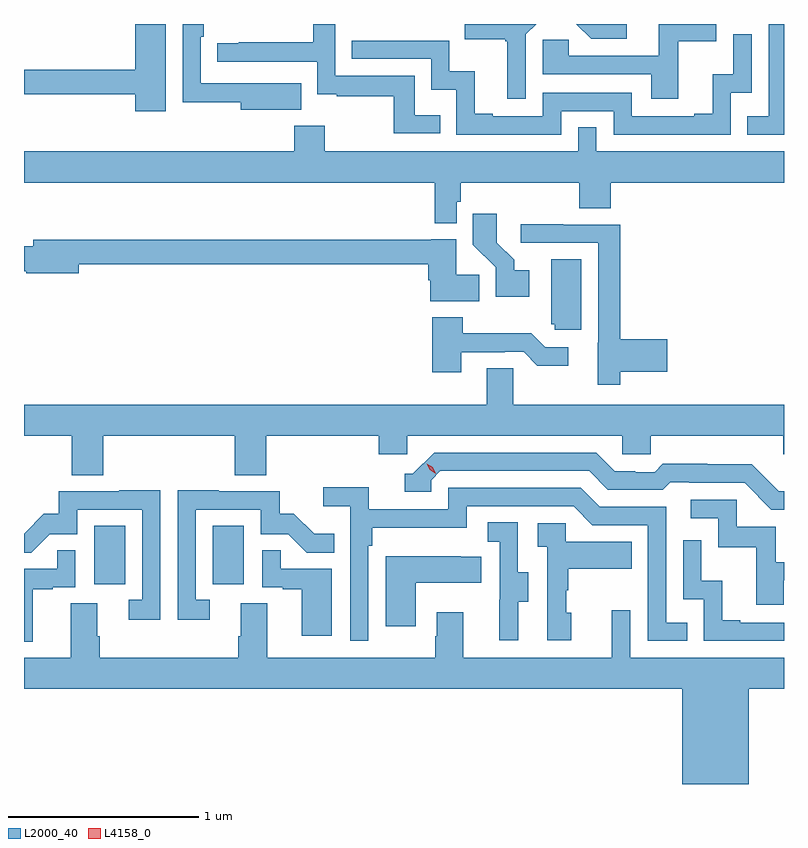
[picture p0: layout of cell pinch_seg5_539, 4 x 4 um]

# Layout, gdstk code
import gdstk
lib = gdstk.Library(unit=1e-6, precision=1e-09)
def R(c, l, rs):  # rectangles x0, y0, x1, y1
    for r in rs: c.add(gdstk.rectangle(r[:2], r[2:], *l))
def P(c, l, *ps):  # polygons
    for p in ps: c.add(gdstk.Polygon(p, *l))
L2000_40 = (2000, 40)
L4158_0 = (4158, 0)

pinch_seg5_539 = lib.new_cell('pinch_seg5_539')
R(pinch_seg5_539, L2000_40, [(952.352,843.99,952.516,844.297), (952.976,843.99,953.14,844.297)])
P(pinch_seg5_539, L2000_40, [(953.441,846.628),(953.227,846.628),(953.227,846.627),(952.914,846.627),(952.914,846.872),(952.928,846.872),(952.928,846.939),(952.818,846.939),(952.818,846.526),(953.123,846.526),(953.123,846.488),(953.441,846.488)],
  [(955.156,846.939),(954.89,846.939),(954.968,846.861),(955.156,846.861)],
  [(954.624,846.885),(954.678,846.939),(954.303,846.939),(954.303,846.86),(954.516,846.86),(954.516,846.849),(954.527,846.849),(954.527,846.546),(954.624,846.546)],
  [(952.729,846.939),(952.568,846.939),(952.568,846.698),(951.983,846.698),(951.983,846.57),(952.568,846.57),(952.568,846.48),(952.729,846.48)],
  [(954.173,846.46),(954.039,846.46),(954.039,846.666),(953.622,846.666),(953.622,846.939),(953.506,846.939),(953.506,846.842),(953.113,846.842),(953.113,846.837),(953.001,846.837),(953.001,846.741),(953.526,846.741),(953.526,846.569),(953.629,846.569),(953.629,846.558),(953.928,846.558),(953.928,846.363),(954.173,846.363)],
  [(955.427,846.849),(955.626,846.849),(955.626,846.939),(955.325,846.939),(955.325,846.771),(954.851,846.771),(954.851,846.855),(954.714,846.855),(954.714,846.675),(955.283,846.675),(955.283,846.546),(955.427,846.546)],
  [(955.983,846.939),(955.902,846.939),(955.902,846.453),(955.789,846.453),(955.789,846.357),(955.983,846.357)],
  [(954.81,846.48),(955.086,846.48),(955.086,846.357),(955.704,846.357),(955.704,846.576),(955.812,846.576),(955.812,846.886),(955.716,846.886),(955.716,846.674),(955.607,846.674),(955.607,846.466),(955.511,846.466),(955.511,846.453),(955.182,846.453),(955.182,846.576),(954.714,846.576),(954.714,846.453),(954.451,846.453),(954.451,846.466),(954.355,846.466),(954.355,846.691),(954.222,846.691),(954.222,846.852),(953.707,846.852),(953.707,846.756),(954.126,846.756),(954.126,846.593),(954.258,846.593),(954.258,846.357),(954.81,846.357)],
  [(954.261,846.003),(954.281,846.003),(954.281,846.104),(954.905,846.104),(954.905,845.968),(955.07,845.968),(955.07,846.104),(955.983,846.104),(955.983,846.268),(954.996,846.268),(954.996,846.395),(954.9,846.395),(954.9,846.268),(953.565,846.268),(953.565,846.403),(953.405,846.403),(953.405,846.268),(951.983,846.268),(951.983,846.104),(954.145,846.104),(954.145,845.891),(954.261,845.891)],
  [(954.643,845.644),(954.562,845.644),(954.562,845.699),(954.472,845.789),(954.472,845.941),(954.346,845.941),(954.346,845.778),(954.465,845.659),(954.465,845.504),(954.643,845.504)],
  [(955.121,845.108),(955.369,845.108),(955.369,845.279),(955.121,845.279),(955.121,845.883),(954.821,845.883),(954.821,845.886),(954.597,845.886),(954.597,845.787),(955.005,845.787),(955.005,845.262),(955.004,845.262),(955.004,845.04),(955.121,845.04)],
  [(954.38,845.618),(954.259,845.618),(954.259,845.806),(954.126,845.806),(954.126,845.803),(952.031,845.803),(952.031,845.769),(951.983,845.769),(951.983,845.639),(951.994,845.639),(951.994,845.627),(952.27,845.627),(952.27,845.674),(954.11,845.674),(954.11,845.591),(954.122,845.591),(954.122,845.48),(954.38,845.48)],
  [(954.916,845.702),(954.758,845.702),(954.758,845.358),(954.777,845.358),(954.777,845.331),(954.916,845.331)],
  [(954.283,845.211),(954.512,845.211),(954.512,845.214),(954.612,845.214),(954.685,845.141),(954.847,845.141),(954.847,845.238),(954.726,845.238),(954.653,845.311),(954.291,845.311),(954.291,845.395),(954.131,845.395),(954.131,845.106),(954.283,845.106)],
  [(952.4,844.772),(953.093,844.772),(953.093,844.564),(953.258,844.564),(953.258,844.772),(953.849,844.772),(953.849,844.674),(954,844.674),(954,844.772),(955.131,844.772),(955.131,844.674),(955.281,844.674),(955.281,844.772),(955.979,844.772),(955.979,844.674),(955.983,844.674),(955.983,844.936),(954.558,844.936),(954.558,845.126),(954.419,845.126),(954.419,844.936),(951.983,844.936),(951.983,844.772),(952.235,844.772),(952.235,844.564),(952.4,844.564)],
  [(955.983,844.479),(955.956,844.479),(955.814,844.621),(955.578,844.621),(955.578,844.624),(955.345,844.624),(955.303,844.581),(955.2,844.581),(955.2,844.584),(955.093,844.584),(954.994,844.683),(954.141,844.683),(954.03,844.572),(953.987,844.572),(953.987,844.476),(954.126,844.476),(954.126,844.539),(954.174,844.587),(954.957,844.587),(955.056,844.488),(955.345,844.488),(955.384,844.527),(955.483,844.527),(955.483,844.524),(955.776,844.524),(955.917,844.383),(955.983,844.383)],
  [(953.796,844.193),(953.816,844.193),(953.816,844.289),(954.312,844.289),(954.312,844.401),(954.876,844.401),(954.975,844.302),(955.266,844.302),(955.266,843.693),(955.475,843.693),(955.475,843.789),(955.362,843.789),(955.362,844.398),(955.012,844.398),(954.913,844.497),(954.216,844.497),(954.216,844.386),(953.798,844.386),(953.798,844.502),(953.559,844.502),(953.559,844.4),(953.7,844.4),(953.7,843.693),(953.796,843.693)],
  [(952.701,844.484),(952.483,844.484),(952.483,844.479),(952.165,844.479),(952.165,844.362),(952.088,844.362),(951.983,844.257),(951.983,844.156),(952.02,844.156),(952.118,844.254),(952.263,844.254),(952.263,844.383),(952.605,844.383),(952.605,843.909),(952.533,843.909),(952.533,843.804),(952.701,843.804)],
  [(952.96,843.909),(952.887,843.909),(952.887,844.383),(953.229,844.383),(953.229,844.254),(953.373,844.254),(953.471,844.156),(953.615,844.156),(953.615,844.255),(953.511,844.255),(953.404,844.362),(953.328,844.362),(953.328,844.479),(953.009,844.479),(953.009,844.484),(952.791,844.484),(952.791,843.804),(952.96,843.804)],
  [(955.981,844.011),(955.983,844.011),(955.983,844.107),(955.939,844.107),(955.939,844.293),(955.734,844.293),(955.734,844.434),(955.491,844.434),(955.491,844.338),(955.638,844.338),(955.638,844.185),(955.837,844.185),(955.837,843.882),(955.981,843.882)],
  [(954.583,843.898),(954.637,843.898),(954.637,844.053),(954.582,844.053),(954.582,844.316),(954.423,844.316),(954.423,844.213),(954.486,844.213),(954.486,843.909),(954.485,843.909),(954.485,843.696),(954.583,843.696)],
  [(954.862,843.84),(954.837,843.84),(954.837,843.959),(954.847,843.959),(954.847,844.073),(955.181,844.073),(955.181,844.213),(954.834,844.213),(954.834,844.311),(954.687,844.311),(954.687,844.187),(954.738,844.187),(954.738,843.696),(954.862,843.696)],
  [(955.983,843.789),(955.753,843.789),(955.753,843.802),(955.658,843.802),(955.658,844.01),(955.548,844.01),(955.548,844.222),(955.452,844.222),(955.452,843.912),(955.56,843.912),(955.56,843.693),(955.983,843.693)],
  [(952.03,843.963),(952.133,843.963),(952.133,843.975),(952.254,843.975),(952.254,844.169),(952.159,844.169),(952.159,844.071),(951.983,844.071),(951.983,843.689),(952.03,843.689)],
  [(953.602,844.071),(953.333,844.071),(953.333,844.169),(953.238,844.169),(953.238,843.975),(953.345,843.975),(953.345,843.963),(953.444,843.963),(953.444,843.72),(953.602,843.72)],
  [(954.046,843.998),(954.389,843.998),(954.389,844.135),(954.281,844.135),(954.281,844.138),(953.888,844.138),(953.888,843.768),(954.046,843.768)],
  [(955.798,843.44),(955.983,843.44),(955.983,843.604),(955.173,843.604),(955.173,843.853),(955.076,843.853),(955.076,843.604),(954.295,843.604),(954.295,843.844),(954.155,843.844),(954.155,843.716),(954.148,843.716),(954.148,843.604),(953.263,843.604),(953.263,843.89),(953.123,843.89),(953.123,843.716),(953.111,843.716),(953.111,843.604),(952.382,843.604),(952.382,843.716),(952.369,843.716),(952.369,843.89),(952.229,843.89),(952.229,843.604),(951.983,843.604),(951.983,843.44),(955.448,843.44),(955.448,842.939),(955.798,842.939)])
P(pinch_seg5_539, L4158_0, [(954.151,844.573),(954.119,844.593),(954.103,844.625),(954.103,844.625),(954.103,844.625),(954.134,844.606),(954.151,844.574),(954.151,844.573)])

lib.write_gds('pinch_seg5_539.gds')
